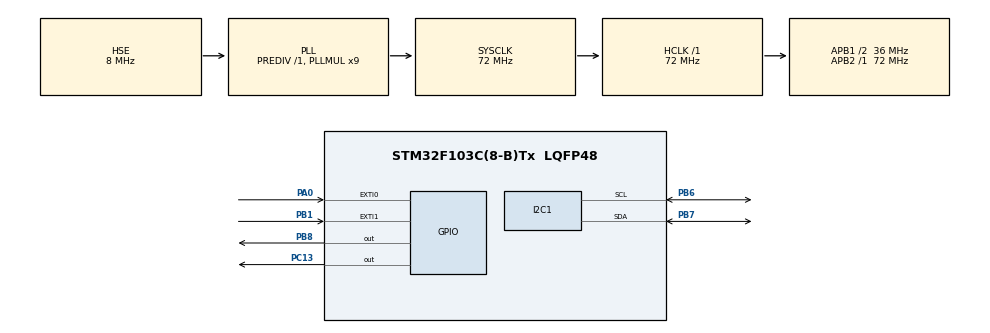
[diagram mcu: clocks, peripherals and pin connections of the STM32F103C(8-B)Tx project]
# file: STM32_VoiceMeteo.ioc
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I2C1.I2C_Mode=I2C_Fast
Mcu.Family=STM32F1
Mcu.Name=STM32F103C(8-B)Tx
Mcu.Package=LQFP48
NVIC.PriorityGroup=NVIC_PRIORITYGROUP_4
PA0-WKUP.GPIO_ModeDefaultEXTI=GPIO_MODE_IT_FALLING
PA0-WKUP.GPIO_PuPd=GPIO_PULLUP
PA0-WKUP.Signal=GPXTI0
PA13.Mode=Serial_Wire
PA13.Signal=SYS_JTMS-SWDIO
PA14.Mode=Serial_Wire
PA14.Signal=SYS_JTCK-SWCLK
PB1.GPIO_ModeDefaultEXTI=GPIO_MODE_IT_FALLING
PB1.GPIO_PuPd=GPIO_PULLUP
PB1.Signal=GPXTI1
PB6.Mode=I2C
PB6.Signal=I2C1_SCL
PB7.Mode=I2C
PB7.Signal=I2C1_SDA
PB8.GPIO_PuPd=GPIO_PULLDOWN
PB8.Signal=GPIO_Output
PC13-TAMPER-RTC.Signal=GPIO_Output
PC14-OSC32_IN.Mode=LSE-External-Oscillator
PC14-OSC32_IN.Signal=RCC_OSC32_IN
PC15-OSC32_OUT.Mode=LSE-External-Oscillator
PC15-OSC32_OUT.Signal=RCC_OSC32_OUT
PD0-OSC_IN.Mode=HSE-External-Oscillator
PD0-OSC_IN.Signal=RCC_OSC_IN
PD1-OSC_OUT.Mode=HSE-External-Oscillator
PD1-OSC_OUT.Signal=RCC_OSC_OUT
ProjectManager.HeapSize=0x200
ProjectManager.StackSize=0x400
ProjectManager.TargetToolchain=CMake
RCC.AHBFreq_Value=72000000
RCC.APB1CLKDivider=RCC_HCLK_DIV2
RCC.APB1Freq_Value=36000000
RCC.APB1TimFreq_Value=72000000
RCC.APB2Freq_Value=72000000
RCC.APB2TimFreq_Value=72000000
RCC.HCLKFreq_Value=72000000
RCC.PLLMUL=RCC_PLL_MUL9
RCC.PLLSourceVirtual=RCC_PLLSOURCE_HSE
RCC.RTCClockSelection=RCC_RTCCLKSOURCE_LSE
RCC.SYSCLKFreq_VALUE=72000000
RCC.SYSCLKSource=RCC_SYSCLKSOURCE_PLLCLK
RCC.USBFreq_Value=72000000
VP_RTC_VS_RTC_Activate.Mode=RTC_Enabled
board=custom

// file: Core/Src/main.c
/* USER CODE BEGIN Header */
/**
  ******************************************************************************
  * @file           : main.c
  * @brief          : Main program body
  ******************************************************************************
  * @attention
  *
  * Copyright (c) 2026 STMicroelectronics.
  * All rights reserved.
  *
  * This software is licensed under terms that can be found in the LICENSE file
  * in the root directory of this software component.
  * If no LICENSE file comes with this software, it is provided AS-IS.
  *
  ******************************************************************************
  */
/* USER CODE END Header */
#include "main.h"
#include "i2c.h"
#include "rtc.h"
#include "gpio.h"

/* USER CODE BEGIN Includes */
#include "oled.h"
#include "aht20.h"
#include <stdio.h>
#include <string.h>
#include "MyRTC.h"
#include "Clock.h"
/* USER CODE END Includes */

void SystemClock_Config(void);

int main(void)
{

  /* MCU Configuration--------------------------------------------------------*/

  /* Reset of all peripherals, Initializes the Flash interface and the Systick. */
  HAL_Init();

  /* Configure the system clock */
  SystemClock_Config();

  /* Initialize all configured peripherals */
  MX_GPIO_Init();
  MX_I2C1_Init();
  MX_RTC_Init();
  /* USER CODE BEGIN 2 */
  OLED_Init();
  MyRTC_Init();
  Clock_Init();
  /* 初始化 AHT20，若不存在设备则在运行时软重试 */
  AHT20_Init();

  /* 温湿度变量：初始化为示例值，若传感器可用会被覆盖 */
  float temperature = 26.2f; /* 初始演示温度 */
  float humidity = 55.2f;    /* 初始演示湿度 */
  char message[64];
  /* USER CODE END 2 */

  /* Infinite loop */
  /* USER CODE BEGIN WHILE */
  while (1)
  {
    /* 心跳灯 */
    HAL_GPIO_TogglePin(GPIOC, GPIO_PIN_13);

    /* 新布局：顶栏(0..15)、中层(16..39)、底层(40..63) */
    OLED_NewFrame();

    /* 顶栏：左侧显示 NoWIFI 图标，中间居中显示日期（格式 YY-MM-DD，例如 26-01-01） */
    OLED_DrawImage(2, 0, &NoWIFIImg, OLED_COLOR_NORMAL); /* 左侧 NoWIFI 图标，16x16 */
    char date_buf[16] = "26-01-01"; /* 初始显示，格式 YY-MM-DD */
    if (MyRTC_GetDateString(date_buf, sizeof(date_buf)) == 0) {
      /* 日期 8 字符，字体宽 8：8×8=64，居中位置 (128-64)/2 = 32 */
      OLED_PrintASCIIString(32, 0, date_buf, &afont16x8, OLED_COLOR_NORMAL);
    } else {
      OLED_PrintASCIIString(32, 0, (char *)"26-01-01", &afont16x8, OLED_COLOR_NORMAL);
    }

    /* 中层：若处于闹钟设置界面，显示设置界面（HH:MM，无秒）并闪烁被设置字段；
       否则显示 RTC HH:MM:SS */
    if (Clock_IsSetting()) {
      uint8_t th=0, tm=0, field=0, flash=1;
      Clock_GetTemp(&th, &tm);
      field = Clock_GetSettingField();
      flash = Clock_GetFlashState();
      char set_buf[8];
      if (field == 0 && !flash) {
        sprintf(set_buf, "  :%02u", tm);
      } else if (field == 1 && !flash) {
        sprintf(set_buf, "%02u:  ", th);
      } else {
        sprintf(set_buf, "%02u:%02u", th, tm);
      }
      OLED_PrintASCIIString(16, 20, set_buf, &afont24x12, OLED_COLOR_NORMAL);
      /* 右上显示闹钟图标（设置界面亦显示） */
      OLED_DrawImage(110, 0, &ClockImg, OLED_COLOR_NORMAL);
    } else {
      char time_buf[12] = "19:51:22";
      if (MyRTC_GetTimeString(time_buf, sizeof(time_buf)) == 0) {
        OLED_PrintASCIIString(16, 20, time_buf, &afont24x12, OLED_COLOR_NORMAL);
      } else {
        OLED_PrintASCIIString(16, 20, (char *)"19:51:22", &afont24x12, OLED_COLOR_NORMAL);
      }
      /* 正常模式下，若闹钟开启则在右上显示图标 */
      uint8_t _en=0,_h=0,_m=0; Clock_GetAlarm(&_en,&_h,&_m);
      if (_en) OLED_DrawImage(110, 0, &ClockImg, OLED_COLOR_NORMAL);
    }

    /* 在绘制底层之前检查 AHT20 是否可用；不可用时软重试并显示 AHT20 OFF */
    int aht_ok = 0;
    if (AHT20_IsReady() == 0) {
      /* 设备就绪，测量并读取温湿度 */
      AHT20_Measure();
      temperature = AHT20_Temperature();
      humidity = AHT20_Humidity();
      aht_ok = 1;
    } else {
      /* 设备不可用：不进行软重启，仅标记为不可用，显示 AHT20 OFF */
      aht_ok = 0;
    }

    if (aht_ok) {
        /* 左侧温度图标从 (0,48) 开始，文本紧随其后 */
        OLED_DrawImage(0, 48, &temperatureImg, OLED_COLOR_NORMAL);
        sprintf(message, "%.1f℃", temperature);
        OLED_PrintString(16, 48, message, &font16x16, OLED_COLOR_NORMAL);

        /* 右侧湿度保持原位（靠右显示） */
        OLED_DrawImage(70, 48, &humidityImg, OLED_COLOR_NORMAL);
        sprintf(message, "%.1f%%", humidity);
        OLED_PrintString(86, 48, message, &font16x16, OLED_COLOR_NORMAL);
    } else {
        /* 居中显示 AHT20 OFF（预计算居中位置：9×8=72，(128-72)/2=28） */
        OLED_PrintASCIIString(28, 48, (char *)"AHT20 OFF", &afont16x8, OLED_COLOR_NORMAL);
    }

    OLED_ShowFrame();

    /* 如果进入设置态，短循环刷新以显示闪烁字段并即时响应按键；退出设置后恢复 1s 周期 */
    if (Clock_IsSetting()) {
      /* 在设置模式内使用较短的刷新间隔直到用户保存退出 */
      while (Clock_IsSetting()) {
        Clock_Periodic();
        HAL_Delay(200);

        /* 重新绘制设置界面以反映闪烁与变化 */
        OLED_NewFrame();
        /* 顶栏保持不变（NoWIFI + 居中日期 + 闹钟图标） */
        OLED_DrawImage(2, 0, &NoWIFIImg, OLED_COLOR_NORMAL);
        char date_buf2[16] = "26-01-01";
        if (MyRTC_GetDateString(date_buf2, sizeof(date_buf2)) == 0) OLED_PrintASCIIString(32, 0, date_buf2, &afont16x8, OLED_COLOR_NORMAL);
        else OLED_PrintASCIIString(32, 0, (char *)"26-01-01", &afont16x8, OLED_COLOR_NORMAL);

        uint8_t th2=0, tm2=0, field2=0, flash2=1;
        Clock_GetTemp(&th2, &tm2);
        field2 = Clock_GetSettingField();
        flash2 = Clock_GetFlashState();
        char set_buf2[8];
        if (field2 == 0 && !flash2) sprintf(set_buf2, "  :%02u", tm2);
        else if (field2 == 1 && !flash2) sprintf(set_buf2, "%02u:  ", th2);
        else sprintf(set_buf2, "%02u:%02u", th2, tm2);
        OLED_PrintASCIIString(16, 20, set_buf2, &afont24x12, OLED_COLOR_NORMAL);

        /* 底层仍显示温湿度（减少闪烁，读取上次值） */
        if (AHT20_IsReady() == 0) {
          AHT20_Measure();
          temperature = AHT20_Temperature();
          humidity = AHT20_Humidity();
        }
        OLED_DrawImage(0, 48, &temperatureImg, OLED_COLOR_NORMAL);
        sprintf(message, "%.1f℃", temperature);
        OLED_PrintString(16, 48, message, &font16x16, OLED_COLOR_NORMAL);
        OLED_DrawImage(70, 48, &humidityImg, OLED_COLOR_NORMAL);
        sprintf(message, "%.1f%%", humidity);
        OLED_PrintString(86, 48, message, &font16x16, OLED_COLOR_NORMAL);

        OLED_ShowFrame();
      }
    } else {
      /* 正常模式：在 1s 内以 20ms 间隔调用 Clock_Periodic 以支持消抖与节奏；
         显示仅在上方绘制一次（每秒更新） */
      for (int i = 0; i < 50; ++i) {
        Clock_Periodic();
        HAL_Delay(20);
      }
    }

    /* USER CODE END WHILE */

  }
}

void SystemClock_Config(void)
{
  RCC_OscInitTypeDef RCC_OscInitStruct = {0};
  RCC_ClkInitTypeDef RCC_ClkInitStruct = {0};
  RCC_PeriphCLKInitTypeDef PeriphClkInit = {0};

  /** Initializes the RCC Oscillators according to the specified parameters
  * in the RCC_OscInitTypeDef structure.
  */
  RCC_OscInitStruct.OscillatorType = RCC_OSCILLATORTYPE_HSE|RCC_OSCILLATORTYPE_LSE;
  RCC_OscInitStruct.HSEState = RCC_HSE_ON;
  RCC_OscInitStruct.HSEPredivValue = RCC_HSE_PREDIV_DIV1;
  RCC_OscInitStruct.LSEState = RCC_LSE_ON;
  RCC_OscInitStruct.HSIState = RCC_HSI_ON;
  RCC_OscInitStruct.PLL.PLLState = RCC_PLL_ON;
  RCC_OscInitStruct.PLL.PLLSource = RCC_PLLSOURCE_HSE;
  RCC_OscInitStruct.PLL.PLLMUL = RCC_PLL_MUL9;
  if (HAL_RCC_OscConfig(&RCC_OscInitStruct) != HAL_OK)
  {
    Error_Handler();
  }

  /** Initializes the CPU, AHB and APB buses clocks
  */
  RCC_ClkInitStruct.ClockType = RCC_CLOCKTYPE_HCLK|RCC_CLOCKTYPE_SYSCLK
                              |RCC_CLOCKTYPE_PCLK1|RCC_CLOCKTYPE_PCLK2;
  RCC_ClkInitStruct.SYSCLKSource = RCC_SYSCLKSOURCE_PLLCLK;
  RCC_ClkInitStruct.AHBCLKDivider = RCC_SYSCLK_DIV1;
  RCC_ClkInitStruct.APB1CLKDivider = RCC_HCLK_DIV2;
  RCC_ClkInitStruct.APB2CLKDivider = RCC_HCLK_DIV1;

  if (HAL_RCC_ClockConfig(&RCC_ClkInitStruct, FLASH_LATENCY_2) != HAL_OK)
  {
    Error_Handler();
  }
  PeriphClkInit.PeriphClockSelection = RCC_PERIPHCLK_RTC;
  PeriphClkInit.RTCClockSelection = RCC_RTCCLKSOURCE_LSE;
  if (HAL_RCCEx_PeriphCLKConfig(&PeriphClkInit) != HAL_OK)
  {
    Error_Handler();
  }
}

void Error_Handler(void)
{
  __disable_irq();
  while (1)
  {
  }
}
